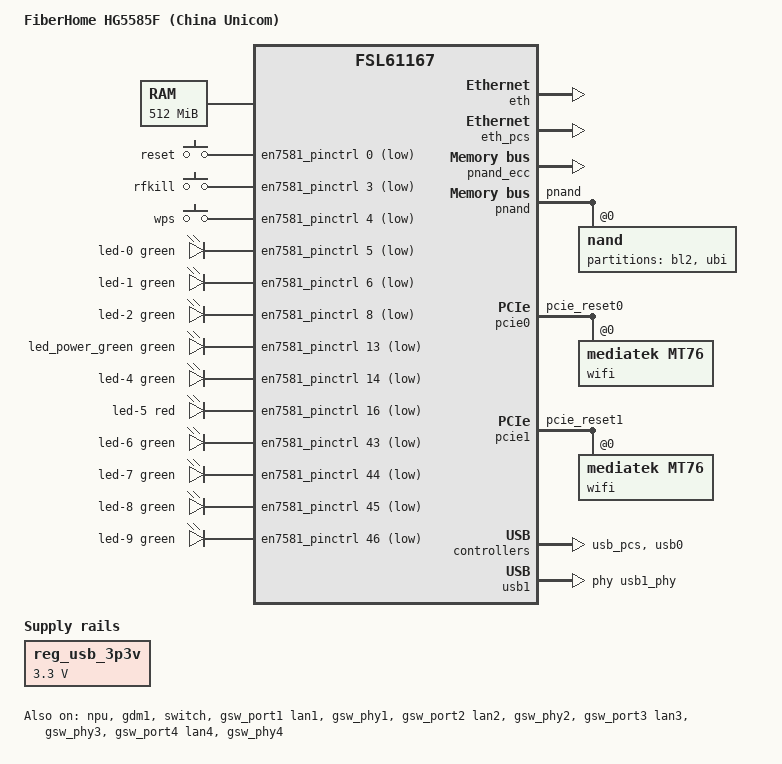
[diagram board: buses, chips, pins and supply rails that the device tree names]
// SPDX-License-Identifier: GPL-2.0-only OR MIT

/dts-v1/;
#include <dt-bindings/gpio/gpio.h>
#include <dt-bindings/input/input.h>
#include <dt-bindings/leds/common.h>
#include "fsl61167.dtsi"

/ {
	model = "FiberHome HG5585F (China Unicom)";
	compatible = "fiberhome,hg5585f-cu", "airoha,an7581",
		     "airoha,en7581", "freesil,fsl61167";

	aliases {
		label-mac-device = &gdm1;

		led-boot = &led_power_green;
		led-failsafe = &led_power_green;
		led-running = &led_power_green;
		led-upgrade = &led_power_green;

		serial0 = &uart1;
	};

	chosen {
		bootargs = "console=ttyS0,115200 earlycon";
		stdout-path = "serial0:115200n8";
		linux,usable-memory-range =
			<0x0 0x80200000 0x0 0x1fe00000>;
		rootdisk = <&ubi_fit>;
	};

	memory@80000000 {
		device_type = "memory";
		reg = <0x0 0x80000000 0x0 0x20000000>;
	};

	reg_usb_3p3v: regulator-usb-3p3v {
		compatible = "regulator-fixed";
		regulator-always-on;
		regulator-boot-on;
		regulator-min-microvolt = <3300000>;
		regulator-max-microvolt = <3300000>;
		regulator-name = "usb-3.3V";
	};

	keys {
		compatible = "gpio-keys";

		button-0 {
			label = "reset";
			linux,code = <KEY_RESTART>;
			gpios = <&en7581_pinctrl 0 GPIO_ACTIVE_LOW>;
			debounce-interval = <60>;
		};

		button-1 {
			label = "rfkill";
			linux,code = <KEY_RFKILL>;
			gpios = <&en7581_pinctrl 3 GPIO_ACTIVE_LOW>;
			debounce-interval = <60>;
		};

		button-2 {
			label = "wps";
			linux,code = <KEY_WPS_BUTTON>;
			gpios = <&en7581_pinctrl 4 GPIO_ACTIVE_LOW>;
			debounce-interval = <60>;
		};
	};

	leds {
		compatible = "gpio-leds";

		led-0 {
			color = <LED_COLOR_ID_GREEN>;
			function = LED_FUNCTION_WAN_ONLINE;
			gpios = <&en7581_pinctrl 5 GPIO_ACTIVE_LOW>;
		};

		led-1 {
			color = <LED_COLOR_ID_GREEN>;
			function = LED_FUNCTION_USB;
			function-enumerator = <1>;
			gpios = <&en7581_pinctrl 6 GPIO_ACTIVE_LOW>;
			linux,default-trigger = "usbport";
			trigger-sources = <&usb_port1>;
		};

		led-2 {
			color = <LED_COLOR_ID_GREEN>;
			function = LED_FUNCTION_USB;
			function-enumerator = <2>;
			gpios = <&en7581_pinctrl 8 GPIO_ACTIVE_LOW>;
			linux,default-trigger = "usbport";
			trigger-sources = <&usb_port2>;
		};

		led_power_green: led-3 {
			color = <LED_COLOR_ID_GREEN>;
			function = LED_FUNCTION_POWER;
			gpios = <&en7581_pinctrl 13 GPIO_ACTIVE_LOW>;
		};

		led-4 {
			color = <LED_COLOR_ID_GREEN>;
			function = LED_FUNCTION_WAN;
			gpios = <&en7581_pinctrl 14 GPIO_ACTIVE_LOW>;
		};

		led-5 {
			color = <LED_COLOR_ID_RED>;
			function = LED_FUNCTION_WAN;
			gpios = <&en7581_pinctrl 16 GPIO_ACTIVE_LOW>;
		};

		led-6 {
			color = <LED_COLOR_ID_GREEN>;
			function = LED_FUNCTION_LAN;
			function-enumerator = <1>;
			gpios = <&en7581_pinctrl 43 GPIO_ACTIVE_LOW>;
		};

		led-7 {
			color = <LED_COLOR_ID_GREEN>;
			function = LED_FUNCTION_LAN;
			function-enumerator = <2>;
			gpios = <&en7581_pinctrl 44 GPIO_ACTIVE_LOW>;
		};

		led-8 {
			color = <LED_COLOR_ID_GREEN>;
			function = LED_FUNCTION_LAN;
			function-enumerator = <3>;
			gpios = <&en7581_pinctrl 45 GPIO_ACTIVE_LOW>;
		};

		led-9 {
			color = <LED_COLOR_ID_GREEN>;
			function = LED_FUNCTION_LAN;
			function-enumerator = <4>;
			gpios = <&en7581_pinctrl 46 GPIO_ACTIVE_LOW>;
		};
	};
};

&en7581_pinctrl {
	gpio-ranges = <&en7581_pinctrl 0 13 50>;

	mdio_pins: mdio-pins {
		mux {
			function = "mdio";
			groups = "mdio";
		};
	};

	pnand_pins: pnand-pins {
		mux {
			function = "pnand";
			groups = "pnand";
		};
	};

	pcie0_rst_pins: pcie0-rst-pins {
		conf {
			pins = "pcie_reset0";
			drive-open-drain = <1>;
		};
	};

	pcie1_rst_pins: pcie1-rst-pins {
		conf {
			pins = "pcie_reset1";
			drive-open-drain = <1>;
		};
	};
};

&npu {
	status = "okay";
};

&eth {
	status = "okay";
};

&eth_pcs {
	status = "okay";
};

&gdm1 {
	nvmem-cells = <&fiberhome_base_mac (1)>;
	nvmem-cell-names = "mac-address";
	status = "okay";
};

&pnand_ecc {
	status = "okay";
};

&pnand {
	pinctrl-names = "default";
	pinctrl-0 = <&pnand_pins>;
	status = "okay";

	nand@0 {
		reg = <0>;

		nand-bus-width = <8>;

		nand-ecc-mode = "hw";
		nand-ecc-strength = <8>;
		nand-ecc-step-size = <512>;

		partitions: partitions {
			compatible = "fixed-partitions";
			#address-cells = <1>;
			#size-cells = <1>;

			partition@0 {
				label = "bl2";
				reg = <0x0 0x20000>;
				read-only;
			};

			partition@20000 {
				label = "ubi";
				reg = <0x20000 0x0>;
				compatible = "linux,ubi";

				volumes {
					ubi_fip: ubi-volume-fip {
						volname = "fip";
					};

					ubi_env: ubi-volume-ubootenv {
						volname = "ubootenv";
					};

					ubi_env2: ubi-volume-ubootenv2 {
						volname = "ubootenv2";
					};

					ubi_factory: ubi-volume-factory {
						volname = "factory";
					};

					ubi_fit: ubi-volume-fit {
						volname = "fit";
					};
				};
			};
		};
	};
};

&ubi_env {
	nvmem-layout {
		compatible = "u-boot,env-redundant-bool-layout";
	};
};

&ubi_env2 {
	nvmem-layout {
		compatible = "u-boot,env-redundant-bool-layout";
	};
};

&ubi_factory {
	nvmem-layout {
		compatible = "fixed-layout";
		#address-cells = <1>;
		#size-cells = <1>;

		pon_calibration: calibration@0 {
			reg = <0x0 0x800>;
		};

		wifi_eeprom: eeprom@1000 {
			reg = <0x1000 0x1000>;
		};

		fiberhome_base_mac: mac-address@2000 {
			compatible = "mac-base";
			reg = <0x2000 0x6>;
		};

		fiberhome_pon_serial: pon-serial@2010 {
			reg = <0x2010 0x8>;
		};

		fiberhome_device_serial: device-serial@2020 {
			reg = <0x2020 0x20>;
		};
	};
};

&switch {
	pinctrl-names = "default";
	pinctrl-0 = <&mdio_pins>;
	status = "okay";
};

&gsw_port1 {
	label = "lan1";
	status = "okay";
};

&gsw_phy1 {
	status = "okay";
};

&gsw_port2 {
	label = "lan2";
	status = "okay";
};

&gsw_phy2 {
	status = "okay";
};

&gsw_port3 {
	label = "lan3";
	status = "okay";
};

&gsw_phy3 {
	status = "okay";
};

&gsw_port4 {
	label = "lan4";
	status = "okay";
};

&gsw_phy4 {
	status = "okay";
};

&pcie0 {
	status = "okay";
	max-link-speed = <2>;
	pinctrl-names = "default";
	pinctrl-0 = <&pcie0_rst_pins>;

	pcie@0,0 {
		reg = <0x0000 0 0 0 0>;

		wifi@0,0 {
			compatible = "mediatek,mt76";
			reg = <0x0000 0 0 0 0>;
		};
	};
};

&pcie1 {
	status = "okay";
	max-link-speed = <2>;
	pinctrl-names = "default";
	pinctrl-0 = <&pcie1_rst_pins>;

	pcie@0,0 {
		reg = <0x0000 0 0 0 0>;

		wifi@0,0 {
			compatible = "mediatek,mt76";
			reg = <0x0000 0 0 0 0>;
			nvmem-cells = <&wifi_eeprom>;
			nvmem-cell-names = "eeprom";
			airoha,npu = <&npu>;
			airoha,eth = <&eth>;
		};
	};
};

&usb_pcs {
	status = "okay";
};

&usb0 {
	status = "okay";
	vusb33-supply = <&reg_usb_3p3v>;

	#address-cells = <1>;
	#size-cells = <0>;

	usb_port2: port@1 {
		reg = <1>;
		#trigger-source-cells = <0>;
	};
};

&usb1 {
	status = "okay";
	mediatek,u3p-dis-msk = <0x1>;
	phys = <&usb1_phy PHY_TYPE_USB2>;
	vusb33-supply = <&reg_usb_3p3v>;

	#address-cells = <1>;
	#size-cells = <0>;

	usb_port1: port@1 {
		reg = <1>;
		#trigger-source-cells = <0>;
	};
};
